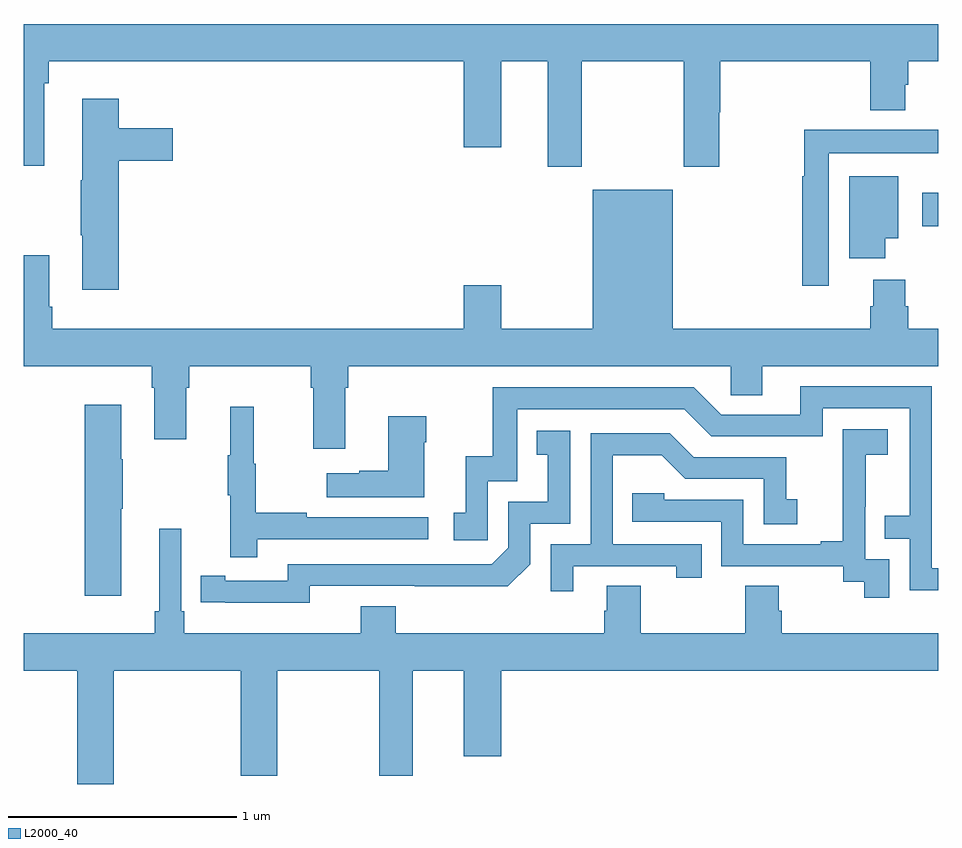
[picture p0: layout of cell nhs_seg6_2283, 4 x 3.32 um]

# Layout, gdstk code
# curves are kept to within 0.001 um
import gdstk
lib = gdstk.Library(unit=1e-6, precision=1e-09)
def R(c, l, rs):  # rectangles x0, y0, x1, y1
    for r in rs: c.add(gdstk.rectangle(r[:2], r[2:], *l))
def P(c, l, *ps):  # polygons
    for p in ps: c.add(gdstk.Polygon(p, *l))
L2000_40 = (2000, 40)

nhs_seg6_2283 = lib.new_cell('nhs_seg6_2283')
R(nhs_seg6_2283, L2000_40, [(250.929,955.939,251,956.086)])
P(nhs_seg6_2283, L2000_40, [(249.441,956.66),(249.886,956.66),(249.886,956.199),(250.041,956.199),(250.041,956.438),(250.046,956.438),(250.046,956.66),(250.703,956.66),(250.703,956.447),(250.855,956.447),(250.855,956.559),(250.868,956.559),(250.868,956.66),(251,956.66),(251,956.824),(247,956.824),(247,956.205),(247.09,956.205),(247.09,956.564),(247.109,956.564),(247.109,956.66),(248.924,956.66),(248.924,956.286),(249.088,956.286),(249.088,956.66),(249.293,956.66),(249.293,956.199),(249.441,956.199)],
  [(247.415,956.225),(247.651,956.225),(247.651,956.367),(247.415,956.367),(247.415,956.497),(247.256,956.497),(247.256,956.141),(247.249,956.141),(247.249,955.9),(247.256,955.9),(247.256,955.662),(247.415,955.662)],
  [(250.521,956.258),(251,956.258),(251,956.362),(250.413,956.362),(250.413,956.158),(250.405,956.158),(250.405,955.68),(250.521,955.68)],
  [(250.768,955.886),(250.825,955.886),(250.825,956.158),(250.61,956.158),(250.61,955.8),(250.768,955.8)],
  [(248.407,955.232),(248.42,955.232),(248.42,955.328),(250.092,955.328),(250.092,955.201),(250.231,955.201),(250.231,955.328),(251,955.328),(251,955.492),(250.868,955.492),(250.868,955.59),(250.855,955.59),(250.855,955.705),(250.715,955.705),(250.715,955.59),(250.703,955.59),(250.703,955.492),(249.838,955.492),(249.838,956.098),(249.488,956.098),(249.488,955.492),(249.088,955.492),(249.088,955.681),(248.924,955.681),(248.924,955.492),(247.124,955.492),(247.124,955.588),(247.111,955.588),(247.111,955.813),(247,955.813),(247,955.328),(247.559,955.328),(247.559,955.232),(247.571,955.232),(247.571,955.008),(247.711,955.008),(247.711,955.232),(247.724,955.232),(247.724,955.328),(248.255,955.328),(248.255,955.232),(248.267,955.232),(248.267,954.966),(248.407,954.966)],
  [(251,954.444),(250.971,954.444),(250.971,955.239),(250.397,955.239),(250.397,955.116),(250.05,955.116),(249.93,955.236),(249.051,955.236),(249.051,954.934),(248.933,954.934),(248.933,954.687),(248.88,954.687),(248.88,954.567),(249.03,954.567),(249.03,954.825),(249.159,954.825),(249.159,955.14),(249.888,955.14),(250.008,955.02),(250.494,955.02),(250.494,955.143),(250.875,955.143),(250.875,954.674),(250.765,954.674),(250.765,954.573),(250.875,954.573),(250.875,954.348),(251,954.348)],
  [(247.426,954.703),(247.434,954.703),(247.434,954.92),(247.426,954.92),(247.426,955.159),(247.268,955.159),(247.268,954.324),(247.426,954.324)],
  [(248.021,954.57),(248.77,954.57),(248.77,954.666),(248.237,954.666),(248.237,954.686),(248.014,954.686),(248.014,954.9),(248.006,954.9),(248.006,955.15),(247.904,955.15),(247.904,954.937),(247.893,954.937),(247.893,954.763),(247.904,954.763),(247.904,954.492),(248.021,954.492)],
  [(248.752,954.995),(248.76,954.995),(248.76,955.108),(248.594,955.108),(248.594,954.869),(248.468,954.869),(248.468,954.859),(248.325,954.859),(248.325,954.755),(248.752,954.755)],
  [(250.785,954.483),(250.68,954.483),(250.68,954.713),(250.682,954.713),(250.682,954.941),(250.78,954.941),(250.78,955.051),(250.582,955.051),(250.582,954.845),(250.583,954.845),(250.583,954.562),(250.487,954.562),(250.487,954.549),(250.146,954.549),(250.146,954.744),(249.801,954.744),(249.801,954.771),(249.661,954.771),(249.661,954.648),(250.05,954.648),(250.05,954.453),(250.584,954.453),(250.584,954.385),(250.677,954.385),(250.677,954.315),(250.785,954.315)],
  [(248.25,954.366),(249.118,954.365),(249.216,954.462),(249.216,954.639),(249.39,954.639),(249.39,955.045),(249.244,955.045),(249.244,954.939),(249.293,954.939),(249.293,954.735),(249.12,954.735),(249.12,954.534),(249.048,954.462),(248.154,954.462),(248.154,954.39),(247.882,954.39),(247.882,954.41),(247.774,954.41),(247.774,954.294),(248.25,954.293)],
  [(249.403,954.453),(249.854,954.453),(249.854,954.402),(249.965,954.402),(249.965,954.549),(249.576,954.549),(249.576,954.938),(249.79,954.938),(249.894,954.834),(250.236,954.834),(250.236,954.636),(250.384,954.636),(250.384,954.745),(250.335,954.745),(250.335,954.93),(249.931,954.93),(249.826,955.035),(249.48,955.035),(249.48,954.549),(249.306,954.549),(249.306,954.342),(249.403,954.342)],
  [(247.394,953.996),(247.949,953.996),(247.949,953.535),(248.109,953.535),(248.109,953.996),(248.554,953.996),(248.554,953.535),(248.701,953.535),(248.701,953.996),(248.924,953.996),(248.924,953.622),(249.088,953.622),(249.088,953.996),(251,953.996),(251,954.16),(250.316,954.16),(250.316,954.258),(250.303,954.258),(250.303,954.368),(250.156,954.368),(250.156,954.16),(249.699,954.16),(249.699,954.368),(249.551,954.368),(249.551,954.258),(249.539,954.258),(249.539,954.16),(248.627,954.16),(248.627,954.277),(248.474,954.277),(248.474,954.16),(247.703,954.16),(247.703,954.256),(247.689,954.256),(247.689,954.616),(247.592,954.616),(247.592,954.256),(247.573,954.256),(247.573,954.16),(247,954.16),(247,953.996),(247.234,953.996),(247.234,953.5),(247.394,953.5)])

lib.write_gds('nhs_seg6_2283.gds')
